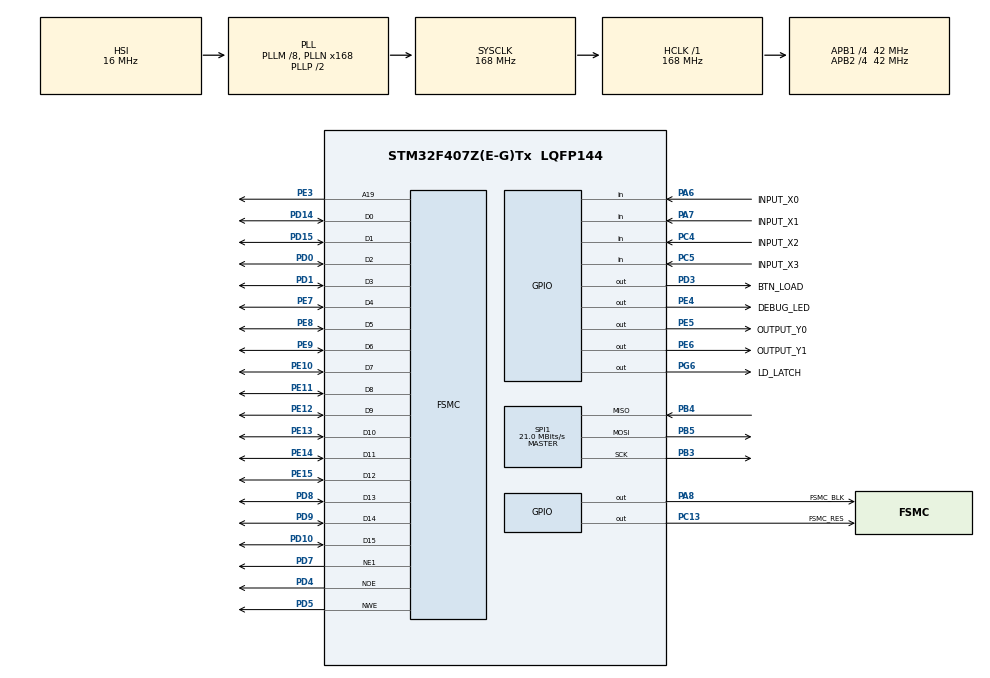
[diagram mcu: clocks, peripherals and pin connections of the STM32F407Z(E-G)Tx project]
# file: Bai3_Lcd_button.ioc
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FSMC.AddressSetupTime1=0xf
FSMC.BusTurnAroundDuration1=0
FSMC.DataSetupTime1=60
FSMC.ExtendedAddressSetupTime1=8
FSMC.ExtendedBusTurnAroundDuration1=0
FSMC.ExtendedDataSetupTime1=9
FSMC.ExtendedMode1=FSMC_EXTENDED_MODE_ENABLE
Mcu.Family=STM32F4
Mcu.Name=STM32F407Z(E-G)Tx
Mcu.Package=LQFP144
NVIC.PriorityGroup=NVIC_PRIORITYGROUP_4
NVIC.TIM2_IRQn=true\:0\:0\:false\:false\:true\:true\:true\:true
PA13.Mode=Serial_Wire
PA13.Signal=SYS_JTMS-SWDIO
PA14.Mode=Serial_Wire
PA14.Signal=SYS_JTCK-SWCLK
PA6.GPIO_Label=INPUT_X0
PA6.Signal=GPIO_Input
PA7.GPIO_Label=INPUT_X1
PA7.Signal=GPIO_Input
PA8.GPIO_Label=FSMC_BLK
PA8.Signal=GPIO_Output
PB3.Mode=Full_Duplex_Master
PB3.Signal=SPI1_SCK
PB4.Mode=Full_Duplex_Master
PB4.Signal=SPI1_MISO
PB5.Mode=Full_Duplex_Master
PB5.Signal=SPI1_MOSI
PC13-ANTI_TAMP.GPIO_Label=FSMC_RES
PC13-ANTI_TAMP.Signal=GPIO_Output
PC4.GPIO_Label=INPUT_X2
PC4.Signal=GPIO_Input
PC5.GPIO_Label=INPUT_X3
PC5.Signal=GPIO_Input
PD0.Signal=FSMC_D2_DA2
PD1.Signal=FSMC_D3_DA3
PD10.Signal=FSMC_D15_DA15
PD14.Signal=FSMC_D0_DA0
PD15.Signal=FSMC_D1_DA1
PD3.GPIO_Label=BTN_LOAD
PD3.Signal=GPIO_Output
PD4.Signal=FSMC_NOE
PD5.Signal=FSMC_NWE
PD7.Mode=NorPsramChipSelect1_1
PD7.Signal=FSMC_NE1
PD8.Signal=FSMC_D13_DA13
PD9.Signal=FSMC_D14_DA14
PE10.Signal=FSMC_D7_DA7
PE11.Signal=FSMC_D8_DA8
PE12.Signal=FSMC_D9_DA9
PE13.Signal=FSMC_D10_DA10
PE14.Signal=FSMC_D11_DA11
PE15.Signal=FSMC_D12_DA12
PE3.Signal=FSMC_A19
PE4.GPIO_Label=DEBUG_LED
PE4.Signal=GPIO_Output
PE5.GPIO_Label=OUTPUT_Y0
PE5.Signal=GPIO_Output
PE6.GPIO_Label=OUTPUT_Y1
PE6.Signal=GPIO_Output
PE7.Signal=FSMC_D4_DA4
PE8.Signal=FSMC_D5_DA5
PE9.Signal=FSMC_D6_DA6
PG6.GPIO_Label=LD_LATCH
PG6.Signal=GPIO_Output
PH0-OSC_IN.Mode=HSE-External-Oscillator
PH0-OSC_IN.Signal=RCC_OSC_IN
PH1-OSC_OUT.Mode=HSE-External-Oscillator
PH1-OSC_OUT.Signal=RCC_OSC_OUT
ProjectManager.HeapSize=0x200
ProjectManager.StackSize=0x400
ProjectManager.TargetToolchain=STM32CubeIDE
RCC.48MHZClocksFreq_Value=84000000
RCC.AHBFreq_Value=168000000
RCC.APB1CLKDivider=RCC_HCLK_DIV4
RCC.APB1Freq_Value=42000000
RCC.APB1TimFreq_Value=84000000
RCC.APB2CLKDivider=RCC_HCLK_DIV4
RCC.APB2Freq_Value=42000000
RCC.APB2TimFreq_Value=84000000
RCC.CortexFreq_Value=168000000
RCC.HCLKFreq_Value=168000000
RCC.HSE_VALUE=8000000
RCC.HSI_VALUE=16000000
RCC.LSE_VALUE=32768
RCC.PLLM=8
RCC.PLLN=168
RCC.SYSCLKFreq_VALUE=168000000
RCC.SYSCLKSource=RCC_SYSCLKSOURCE_PLLCLK
RCC.VCOOutputFreq_Value=336000000
SH.FSMC_A19.0=FSMC_A19,A19_1
SH.FSMC_D0_DA0.0=FSMC_D0,16b-d1
SH.FSMC_D10_DA10.0=FSMC_D10,16b-d1
SH.FSMC_D11_DA11.0=FSMC_D11,16b-d1
SH.FSMC_D12_DA12.0=FSMC_D12,16b-d1
SH.FSMC_D13_DA13.0=FSMC_D13,16b-d1
SH.FSMC_D14_DA14.0=FSMC_D14,16b-d1
SH.FSMC_D15_DA15.0=FSMC_D15,16b-d1
SH.FSMC_D1_DA1.0=FSMC_D1,16b-d1
SH.FSMC_D2_DA2.0=FSMC_D2,16b-d1
SH.FSMC_D3_DA3.0=FSMC_D3,16b-d1
SH.FSMC_D4_DA4.0=FSMC_D4,16b-d1
SH.FSMC_D5_DA5.0=FSMC_D5,16b-d1
SH.FSMC_D6_DA6.0=FSMC_D6,16b-d1
SH.FSMC_D7_DA7.0=FSMC_D7,16b-d1
SH.FSMC_D8_DA8.0=FSMC_D8,16b-d1
SH.FSMC_D9_DA9.0=FSMC_D9,16b-d1
SH.FSMC_NOE.0=FSMC_NOE,Lcd1
SH.FSMC_NWE.0=FSMC_NWE,Lcd1
SPI1.BaudRatePrescaler=SPI_BAUDRATEPRESCALER_2
SPI1.CalculateBaudRate=21.0 MBits/s
SPI1.Direction=SPI_DIRECTION_2LINES
SPI1.Mode=SPI_MODE_MASTER
SPI1.VirtualType=VM_MASTER
TIM2.Period=100-1
TIM2.Prescaler=840-1
VP_TIM2_VS_ClockSourceINT.Mode=Internal
board=custom

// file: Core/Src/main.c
/* USER CODE BEGIN Header */
/**
  ******************************************************************************
  * @file           : main.c
  * @brief          : Main program body
  ******************************************************************************
  * @attention
  *
  * <h2><center>&copy; Copyright (c) 2023 STMicroelectronics.
  * All rights reserved.</center></h2>
  *
  * This software component is licensed by ST under BSD 3-Clause license,
  * the "License"; You may not use this file except in compliance with the
  * License. You may obtain a copy of the License at:
  *                        opensource.org/licenses/BSD-3-Clause
  *
  ******************************************************************************
  */
/* USER CODE END Header */
#include "main.h"
#include "spi.h"
#include "tim.h"
#include "gpio.h"
#include "fsmc.h"

/* USER CODE BEGIN Includes */
#include "software_timer.h"
#include "led_7seg.h"
#include "button.h"
#include "lcd.h"
#include "picture.h"
#include "snake_game/fruit.h"
#include "snake_game/board.h"
#include "snake_game/snake.h"

/* USER CODE END Includes */

void SystemClock_Config(void);
/* USER CODE BEGIN PFP */
void system_init();
void test_LedDebug();
void test_LedY0();
void test_LedY1();
void test_7seg();
void test_button();
void test_lcd();
/* USER CODE END PFP */

int main(void)
{

  /* MCU Configuration--------------------------------------------------------*/

  /* Reset of all peripherals, Initializes the Flash interface and the Systick. */
  HAL_Init();

  /* Configure the system clock */
  SystemClock_Config();

  /* Initialize all configured peripherals */
  MX_GPIO_Init();
  MX_TIM2_Init();
  MX_SPI1_Init();
  MX_FSMC_Init();
  /* USER CODE BEGIN 2 */
  system_init();
  lcd_Clear(WHITE);
  test_lcd();

  /* USER CODE END 2 */

  /* Infinite loop */
  /* USER CODE BEGIN WHILE */
  setFruitTimer(1000);
  while (1)
  {
//	  while(!flag_timer2);
//	  flag_timer2 = 0;
//	  button_Scan();
//	  test_button();
//	  if(fruit_timer_flag == 1) {
//		  presentFruit(fruit1, '*', 2000, 24);
//	  }
	  generateFruit();
//
    /* USER CODE END WHILE */

  }
}

void SystemClock_Config(void)
{
  RCC_OscInitTypeDef RCC_OscInitStruct = {0};
  RCC_ClkInitTypeDef RCC_ClkInitStruct = {0};

  /** Configure the main internal regulator output voltage
  */
  __HAL_RCC_PWR_CLK_ENABLE();
  __HAL_PWR_VOLTAGESCALING_CONFIG(PWR_REGULATOR_VOLTAGE_SCALE1);

  /** Initializes the RCC Oscillators according to the specified parameters
  * in the RCC_OscInitTypeDef structure.
  */
  RCC_OscInitStruct.OscillatorType = RCC_OSCILLATORTYPE_HSI;
  RCC_OscInitStruct.HSIState = RCC_HSI_ON;
  RCC_OscInitStruct.HSICalibrationValue = RCC_HSICALIBRATION_DEFAULT;
  RCC_OscInitStruct.PLL.PLLState = RCC_PLL_ON;
  RCC_OscInitStruct.PLL.PLLSource = RCC_PLLSOURCE_HSI;
  RCC_OscInitStruct.PLL.PLLM = 8;
  RCC_OscInitStruct.PLL.PLLN = 168;
  RCC_OscInitStruct.PLL.PLLP = RCC_PLLP_DIV2;
  RCC_OscInitStruct.PLL.PLLQ = 4;
  if (HAL_RCC_OscConfig(&RCC_OscInitStruct) != HAL_OK)
  {
    Error_Handler();
  }

  /** Initializes the CPU, AHB and APB buses clocks
  */
  RCC_ClkInitStruct.ClockType = RCC_CLOCKTYPE_HCLK|RCC_CLOCKTYPE_SYSCLK
                              |RCC_CLOCKTYPE_PCLK1|RCC_CLOCKTYPE_PCLK2;
  RCC_ClkInitStruct.SYSCLKSource = RCC_SYSCLKSOURCE_PLLCLK;
  RCC_ClkInitStruct.AHBCLKDivider = RCC_SYSCLK_DIV1;
  RCC_ClkInitStruct.APB1CLKDivider = RCC_HCLK_DIV4;
  RCC_ClkInitStruct.APB2CLKDivider = RCC_HCLK_DIV4;

  if (HAL_RCC_ClockConfig(&RCC_ClkInitStruct, FLASH_LATENCY_5) != HAL_OK)
  {
    Error_Handler();
  }
}

/* USER CODE BEGIN 4 */
void system_init(){
	  srand(HAL_GetTick());
	  HAL_GPIO_WritePin(OUTPUT_Y0_GPIO_Port, OUTPUT_Y0_Pin, 0);
	  HAL_GPIO_WritePin(OUTPUT_Y1_GPIO_Port, OUTPUT_Y1_Pin, 0);
	  HAL_GPIO_WritePin(DEBUG_LED_GPIO_Port, DEBUG_LED_Pin, 0);
	  timer_init();
	  led7_init();
	  button_init();
	  lcd_init();
	  setTimer2(7000);

}

uint8_t count_led_debug = 0;
uint8_t count_led_Y0 = 0;
uint8_t count_led_Y1 = 0;

void test_LedDebug(){
	count_led_debug = (count_led_debug + 1)%20;
	if(count_led_debug == 0){
		HAL_GPIO_TogglePin(DEBUG_LED_GPIO_Port, DEBUG_LED_Pin);
	}
}

void test_LedY0(){
	count_led_Y0 = (count_led_Y0+ 1)%100;
	if(count_led_Y0 > 40){
		HAL_GPIO_WritePin(OUTPUT_Y0_GPIO_Port, OUTPUT_Y0_Pin, 1);
	} else {
		HAL_GPIO_WritePin(OUTPUT_Y0_GPIO_Port, OUTPUT_Y0_Pin, 0);
	}
}

void test_LedY1(){
	count_led_Y1 = (count_led_Y1+ 1)%40;
	if(count_led_Y1 > 10){
		HAL_GPIO_WritePin(OUTPUT_Y1_GPIO_Port, OUTPUT_Y1_Pin, 0);
	} else {
		HAL_GPIO_WritePin(OUTPUT_Y0_GPIO_Port, OUTPUT_Y1_Pin, 1);
	}
}

void test_7seg(){
	led7_SetDigit(0, 0, 0);
	led7_SetDigit(5, 1, 0);
	led7_SetDigit(4, 2, 0);
	led7_SetDigit(7, 3, 0);
}
void test_button(){
	for(int i = 0; i < 16; i++){
		if(button_count[i] == 1){
			lcd_ShowIntNum(140, 105, i, 2, BRED, WHITE, 32);
		}
	}
}
void test_lcd(){
	lcd_Fill(0, 0, 240, 20, BLUE);
//	lcd_StrCenter(0, 2, "Hello World!!!", RED, BLUE, 16, 1);
//	lcd_ShowStr(20, 30, "*", WHITE, RED, 24, 0);
//	lcd_ShowChar(20,  30, '*', WHITE, RED, 24, 0);
//	lcd_DrawCircle(60, 120, GREEN, 40, 1);
//	lcd_DrawCircle(160, 120, BRED, 40, 0);
//	lcd_ShowPicture(80, 200, 90, 90, gImage_logo);
}
/* USER CODE END 4 */

void Error_Handler(void)
{
  __disable_irq();
  while (1)
  {
  }
}
